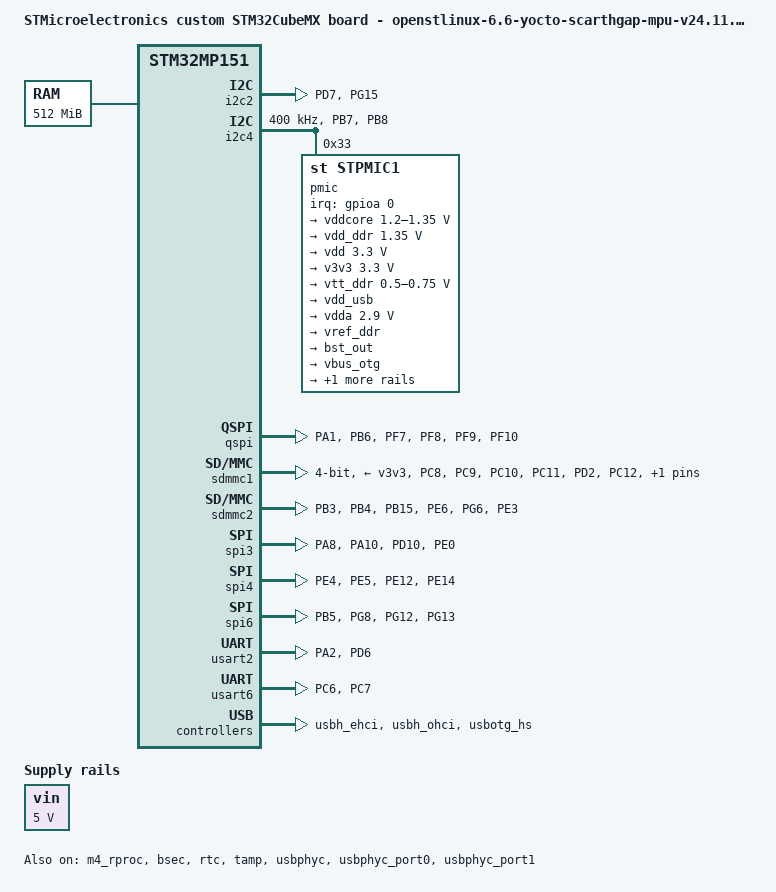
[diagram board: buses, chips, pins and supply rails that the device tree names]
// SPDX-License-Identifier: (GPL-2.0-or-later OR BSD-3-Clause)
/*
 * Copyright (C) 2025, STMicroelectronics - All Rights Reserved
 * Author: STM32CubeMX code generation for STMicroelectronics.
 */

/* For more information on Device Tree configuration, please refer to
 * https://wiki.st.com/stm32mpu/wiki/Category:Device_tree_configuration
 */

/dts-v1/;

#include <dt-bindings/pinctrl/stm32-pinfunc.h>
#include "stm32mp151.dtsi"
#include "stm32mp15xa.dtsi"
#include "stm32mp15xxab-pinctrl.dtsi"
#include "stm32mp15-m4-srm.dtsi"

/* USER CODE BEGIN includes */

#include "stm32mp15-scmi.dtsi"

#include <dt-bindings/gpio/gpio.h>
#include <dt-bindings/mfd/st,stpmic1.h>

/* USER CODE END includes */

/ {
	model = "STMicroelectronics custom STM32CubeMX board - openstlinux-6.6-yocto-scarthgap-mpu-v24.11.06";
	compatible = "st,stm32mp151a-kaonic-mx", "st,stm32mp151";

	memory@c0000000 {
		device_type = "memory";
		reg = <0xc0000000 0x20000000>;

		/* USER CODE BEGIN memory */
		/* USER CODE END memory */
	};

	reserved-memory {
		#address-cells = <1>;
		#size-cells = <1>;
		ranges;

		/* USER CODE BEGIN reserved-memory */
		/* USER CODE END reserved-memory */
	};

	/* USER CODE BEGIN root */

	aliases {
		serial0 = &usart6;
		serial1 = &usart2;
		spi0 = &spi4;
		spi1 = &spi6;
		spi2 = &spi3;
		spi3 = &qspi;
	};

	chosen {
		stdout-path = "serial0:115200n8";
		#address-cells = <1>;
		#size-cells = <1>;
		ranges;
	};

	vin: vin {
		compatible = "regulator-fixed";
		regulator-name = "vin";
		regulator-min-microvolt = <5000000>;
		regulator-max-microvolt = <5000000>;
		regulator-always-on;
	};
	
	/* USER CODE END root */

	clocks{

		/* USER CODE BEGIN clocks */
		/* USER CODE END clocks */
	};

}; /*root*/

&pinctrl {

	i2c2_pins_mx: i2c2_mx-0 {
		pins {
			pinmux = <STM32_PINMUX('D', 7, AF4)>, /* I2C2_SCL */
					 <STM32_PINMUX('G', 15, AF4)>; /* I2C2_SDA */
			bias-disable;
			drive-open-drain;
			slew-rate = <0>;
		};
	};

	i2c2_sleep_pins_mx: i2c2_sleep_mx-0 {
		pins {
			pinmux = <STM32_PINMUX('D', 7, ANALOG)>, /* I2C2_SCL */
					 <STM32_PINMUX('G', 15, ANALOG)>; /* I2C2_SDA */
		};
	};

	i2c4_pins_mx: i2c4_mx-0 {
		pins {
			pinmux = <STM32_PINMUX('B', 7, AF6)>, /* I2C4_SDA */
					 <STM32_PINMUX('B', 8, AF6)>; /* I2C4_SCL */
			bias-disable;
			drive-open-drain;
			slew-rate = <0>;
		};
	};

	i2c4_sleep_pins_mx: i2c4_sleep_mx-0 {
		pins {
			pinmux = <STM32_PINMUX('B', 7, ANALOG)>, /* I2C4_SDA */
					 <STM32_PINMUX('B', 8, ANALOG)>; /* I2C4_SCL */
		};
	};

	quadspi_pins_mx: quadspi_mx-0 {
		pins1 {
			pinmux = <STM32_PINMUX('A', 1, AF9)>, /* QUADSPI_BK1_IO3 */
					 <STM32_PINMUX('B', 6, AF10)>, /* QUADSPI_BK1_NCS */
					 <STM32_PINMUX('F', 7, AF9)>, /* QUADSPI_BK1_IO2 */
					 <STM32_PINMUX('F', 8, AF10)>, /* QUADSPI_BK1_IO0 */
					 <STM32_PINMUX('F', 9, AF10)>; /* QUADSPI_BK1_IO1 */
			bias-disable;
			drive-push-pull;
			slew-rate = <1>;
		};
		pins2 {
			pinmux = <STM32_PINMUX('F', 10, AF9)>; /* QUADSPI_CLK */
			bias-disable;
			drive-push-pull;
			slew-rate = <2>;
		};
	};

	quadspi_sleep_pins_mx: quadspi_sleep_mx-0 {
		pins {
			pinmux = <STM32_PINMUX('A', 1, ANALOG)>, /* QUADSPI_BK1_IO3 */
					 <STM32_PINMUX('B', 6, ANALOG)>, /* QUADSPI_BK1_NCS */
					 <STM32_PINMUX('F', 7, ANALOG)>, /* QUADSPI_BK1_IO2 */
					 <STM32_PINMUX('F', 8, ANALOG)>, /* QUADSPI_BK1_IO0 */
					 <STM32_PINMUX('F', 9, ANALOG)>, /* QUADSPI_BK1_IO1 */
					 <STM32_PINMUX('F', 10, ANALOG)>; /* QUADSPI_CLK */
		};
	};

	sdmmc1_pins_mx: sdmmc1_mx-0 {
		pins1 {
			pinmux = <STM32_PINMUX('C', 8, AF12)>, /* SDMMC1_D0 */
					 <STM32_PINMUX('C', 9, AF12)>, /* SDMMC1_D1 */
					 <STM32_PINMUX('C', 10, AF12)>, /* SDMMC1_D2 */
					 <STM32_PINMUX('C', 11, AF12)>, /* SDMMC1_D3 */
					 <STM32_PINMUX('D', 2, AF12)>; /* SDMMC1_CMD */
			bias-disable;
			drive-push-pull;
			slew-rate = <1>;
		};
		pins2 {
			pinmux = <STM32_PINMUX('C', 12, AF12)>; /* SDMMC1_CK */
			bias-disable;
			drive-push-pull;
			slew-rate = <3>;
		};
	};

	sdmmc1_opendrain_pins_mx: sdmmc1_opendrain_mx-0 {
		pins1 {
			pinmux = <STM32_PINMUX('C', 8, AF12)>, /* SDMMC1_D0 */
					 <STM32_PINMUX('C', 9, AF12)>, /* SDMMC1_D1 */
					 <STM32_PINMUX('C', 10, AF12)>, /* SDMMC1_D2 */
					 <STM32_PINMUX('C', 11, AF12)>; /* SDMMC1_D3 */
			bias-disable;
			drive-push-pull;
			slew-rate = <1>;
		};
		pins2 {
			pinmux = <STM32_PINMUX('C', 12, AF12)>; /* SDMMC1_CK */
			bias-disable;
			drive-push-pull;
			slew-rate = <3>;
		};
		pins3 {
			pinmux = <STM32_PINMUX('D', 2, AF12)>; /* SDMMC1_CMD */
			bias-disable;
			drive-open-drain;
			slew-rate = <1>;
		};
	};

	sdmmc1_sleep_pins_mx: sdmmc1_sleep_mx-0 {
		pins {
			pinmux = <STM32_PINMUX('C', 8, ANALOG)>, /* SDMMC1_D0 */
					 <STM32_PINMUX('C', 9, ANALOG)>, /* SDMMC1_D1 */
					 <STM32_PINMUX('C', 10, ANALOG)>, /* SDMMC1_D2 */
					 <STM32_PINMUX('C', 11, ANALOG)>, /* SDMMC1_D3 */
					 <STM32_PINMUX('C', 12, ANALOG)>, /* SDMMC1_CK */
					 <STM32_PINMUX('D', 2, ANALOG)>; /* SDMMC1_CMD */
		};
	};

	sdmmc2_pins_mx: sdmmc2_mx-0 {
		pins1 {
			pinmux = <STM32_PINMUX('B', 3, AF9)>, /* SDMMC2_D2 */
					 <STM32_PINMUX('B', 4, AF9)>, /* SDMMC2_D3 */
					 <STM32_PINMUX('B', 15, AF9)>, /* SDMMC2_D1 */
					 <STM32_PINMUX('E', 6, AF7)>, /* SDMMC2_D0 */
					 <STM32_PINMUX('G', 6, AF10)>; /* SDMMC2_CMD */
			bias-disable;
			drive-push-pull;
			slew-rate = <1>;
		};
		pins2 {
			pinmux = <STM32_PINMUX('E', 3, AF9)>; /* SDMMC2_CK */
			bias-disable;
			drive-push-pull;
			slew-rate = <3>;
		};
	};

	sdmmc2_opendrain_pins_mx: sdmmc2_opendrain_mx-0 {
		pins1 {
			pinmux = <STM32_PINMUX('B', 3, AF9)>, /* SDMMC2_D2 */
					 <STM32_PINMUX('B', 4, AF9)>, /* SDMMC2_D3 */
					 <STM32_PINMUX('B', 15, AF9)>, /* SDMMC2_D1 */
					 <STM32_PINMUX('E', 6, AF7)>; /* SDMMC2_D0 */
			bias-disable;
			drive-push-pull;
			slew-rate = <1>;
		};
		pins2 {
			pinmux = <STM32_PINMUX('E', 3, AF9)>; /* SDMMC2_CK */
			bias-disable;
			drive-push-pull;
			slew-rate = <3>;
		};
		pins3 {
			pinmux = <STM32_PINMUX('G', 6, AF10)>; /* SDMMC2_CMD */
			bias-disable;
			drive-open-drain;
			slew-rate = <1>;
		};
	};

	sdmmc2_sleep_pins_mx: sdmmc2_sleep_mx-0 {
		pins {
			pinmux = <STM32_PINMUX('B', 3, ANALOG)>, /* SDMMC2_D2 */
					 <STM32_PINMUX('B', 4, ANALOG)>, /* SDMMC2_D3 */
					 <STM32_PINMUX('B', 15, ANALOG)>, /* SDMMC2_D1 */
					 <STM32_PINMUX('E', 3, ANALOG)>, /* SDMMC2_CK */
					 <STM32_PINMUX('E', 6, ANALOG)>, /* SDMMC2_D0 */
					 <STM32_PINMUX('G', 6, ANALOG)>; /* SDMMC2_CMD */
		};
	};

	spi3_pins_mx: spi3_mx-0 {
		pins {
			pinmux = <STM32_PINMUX('A', 8, AF5)>, /* SPI3_MOSI */
					 <STM32_PINMUX('A', 10, AF5)>, /* SPI3_NSS */
					 <STM32_PINMUX('D', 10, AF5)>, /* SPI3_MISO */
					 <STM32_PINMUX('E', 0, AF5)>; /* SPI3_SCK */
			bias-disable;
			drive-push-pull;
			slew-rate = <1>;
		};
	};

	spi3_sleep_pins_mx: spi3_sleep_mx-0 {
		pins {
			pinmux = <STM32_PINMUX('A', 8, ANALOG)>, /* SPI3_MOSI */
					 <STM32_PINMUX('A', 10, ANALOG)>, /* SPI3_NSS */
					 <STM32_PINMUX('D', 10, ANALOG)>, /* SPI3_MISO */
					 <STM32_PINMUX('E', 0, ANALOG)>; /* SPI3_SCK */
		};
	};

	spi4_pins_mx: spi4_mx-0 {
		pins {
			pinmux = <STM32_PINMUX('E', 4, AF5)>, /* SPI4_NSS */
					 <STM32_PINMUX('E', 5, AF5)>, /* SPI4_MISO */
					 <STM32_PINMUX('E', 12, AF5)>, /* SPI4_SCK */
					 <STM32_PINMUX('E', 14, AF5)>; /* SPI4_MOSI */
			bias-disable;
			drive-push-pull;
			slew-rate = <1>;
		};
	};

	spi4_sleep_pins_mx: spi4_sleep_mx-0 {
		pins {
			pinmux = <STM32_PINMUX('E', 4, ANALOG)>, /* SPI4_NSS */
					 <STM32_PINMUX('E', 5, ANALOG)>, /* SPI4_MISO */
					 <STM32_PINMUX('E', 12, ANALOG)>, /* SPI4_SCK */
					 <STM32_PINMUX('E', 14, ANALOG)>; /* SPI4_MOSI */
		};
	};

	spi6_pins_mx: spi6_mx-0 {
		pins {
			pinmux = <STM32_PINMUX('B', 5, AF8)>, /* SPI6_MOSI */
					 <STM32_PINMUX('G', 8, AF5)>, /* SPI6_NSS */
					 <STM32_PINMUX('G', 12, AF5)>, /* SPI6_MISO */
					 <STM32_PINMUX('G', 13, AF5)>; /* SPI6_SCK */
			bias-disable;
			drive-push-pull;
			slew-rate = <1>;
		};
	};

	spi6_sleep_pins_mx: spi6_sleep_mx-0 {
		pins {
			pinmux = <STM32_PINMUX('B', 5, ANALOG)>, /* SPI6_MOSI */
					 <STM32_PINMUX('G', 8, ANALOG)>, /* SPI6_NSS */
					 <STM32_PINMUX('G', 12, ANALOG)>, /* SPI6_MISO */
					 <STM32_PINMUX('G', 13, ANALOG)>; /* SPI6_SCK */
		};
	};

	usart2_pins_mx: usart2_mx-0 {
		pins1 {
			pinmux = <STM32_PINMUX('A', 2, AF7)>; /* USART2_TX */
			bias-disable;
			drive-push-pull;
			slew-rate = <0>;
		};
		pins2 {
			pinmux = <STM32_PINMUX('D', 6, AF7)>; /* USART2_RX */
			bias-disable;
		};
	};

	usart2_idle_pins_mx: usart2_idle_mx-0 {
		pins1 {
			pinmux = <STM32_PINMUX('A', 2, ANALOG)>; /* USART2_TX */
		};
		pins2 {
			pinmux = <STM32_PINMUX('D', 6, AF7)>; /* USART2_RX */
			bias-disable;
		};
	};

	usart2_sleep_pins_mx: usart2_sleep_mx-0 {
		pins {
			pinmux = <STM32_PINMUX('A', 2, ANALOG)>, /* USART2_TX */
					 <STM32_PINMUX('D', 6, ANALOG)>; /* USART2_RX */
		};
	};

	usart6_pins_mx: usart6_mx-0 {
		pins1 {
			pinmux = <STM32_PINMUX('C', 6, AF7)>; /* USART6_TX */
			bias-disable;
			drive-push-pull;
			slew-rate = <0>;
		};
		pins2 {
			pinmux = <STM32_PINMUX('C', 7, AF7)>; /* USART6_RX */
			bias-disable;
		};
	};

	usart6_idle_pins_mx: usart6_idle_mx-0 {
		pins1 {
			pinmux = <STM32_PINMUX('C', 6, ANALOG)>; /* USART6_TX */
		};
		pins2 {
			pinmux = <STM32_PINMUX('C', 7, AF7)>; /* USART6_RX */
			bias-disable;
		};
	};

	usart6_sleep_pins_mx: usart6_sleep_mx-0 {
		pins {
			pinmux = <STM32_PINMUX('C', 6, ANALOG)>, /* USART6_TX */
					 <STM32_PINMUX('C', 7, ANALOG)>; /* USART6_RX */
		};
	};

	/* USER CODE BEGIN pinctrl */
	/* USER CODE END pinctrl */
};

&pinctrl_z {

	/* USER CODE BEGIN pinctrl_z */
	/* USER CODE END pinctrl_z */
};

&m4_rproc{
	status = "okay";

	/* USER CODE BEGIN m4_rproc */
	/* USER CODE END m4_rproc */

	m4_system_resources{
		status = "okay";

		/* USER CODE BEGIN m4_system_resources */
		/* USER CODE END m4_system_resources */
	};
};

&bsec {
	status = "okay";

	/* USER CODE BEGIN bsec */

	/* USER CODE END bsec */
};

&dma1 {
	status = "okay";

	/* USER CODE BEGIN dma1 */
	/* USER CODE END dma1 */
};

&dma2 {
	status = "disabled";

	/* USER CODE BEGIN dma2 */
	/* USER CODE END dma2 */
};

&dmamux1 {
	status = "okay";

	dma-masters = <&dma1>;
	dma-channels = <8>;

	/* USER CODE BEGIN dmamux1 */
	/* USER CODE END dmamux1 */
};

&i2c2 {
	pinctrl-names = "default", "sleep";
	pinctrl-0 = <&i2c2_pins_mx>;
	pinctrl-1 = <&i2c2_sleep_pins_mx>;
	status = "okay";

	/* USER CODE BEGIN i2c2 */
	/* USER CODE END i2c2 */
};

&i2c4 {
	pinctrl-names = "default", "sleep";
	pinctrl-0 = <&i2c4_pins_mx>;
	pinctrl-1 = <&i2c4_sleep_pins_mx>;
	status = "okay";

	/* USER CODE BEGIN i2c4 */
	i2c-scl-rising-time-ns = <185>;
	i2c-scl-falling-time-ns = <20>;
	clock-frequency = <400000>;
	/delete-property/ dmas;
	/delete-property/ dma-names;

	pmic: stpmic@33 {
		compatible = "st,stpmic1";
		reg = <0x33>;
		interrupts-extended = <&gpioa 0 IRQ_TYPE_EDGE_FALLING>;
		interrupt-controller;
		#interrupt-cells = <2>;
		status = "okay";

		regulators {
			compatible = "st,stpmic1-regulators";

			buck1-supply = <&vin>;
			buck2-supply = <&vin>;
			buck3-supply = <&vin>;
			buck4-supply = <&vin>;

			ldo1-supply = <&v3v3>;
			ldo2-supply = <&vin>;
			ldo3-supply = <&vdd_ddr>;
			ldo4-supply = <&vin>;
			ldo5-supply = <&vin>;
			ldo6-supply = <&v3v3>;

			vref_ddr-supply = <&vin>;
			boost-supply = <&vin>;

			pwr_sw1-supply = <&bst_out>;
			pwr_sw2-supply = <&bst_out>;

			vddcore: buck1 {
				regulator-name = "vddcore";
				regulator-min-microvolt = <1200000>;
				regulator-max-microvolt = <1350000>;
				regulator-always-on;
				regulator-initial-mode = <0>;
				regulator-over-current-protection;
			};

			vdd_ddr: buck2 {
				regulator-name = "vdd_ddr";
				regulator-min-microvolt = <1350000>;
				regulator-max-microvolt = <1350000>;
				regulator-always-on;
				regulator-initial-mode = <0>;
				regulator-over-current-protection;
			};

			vdd: buck3 {
				regulator-name = "vdd";
				regulator-min-microvolt = <3300000>;
				regulator-max-microvolt = <3300000>;
				regulator-always-on;
				st,mask-reset;
				regulator-initial-mode = <0>;
				regulator-over-current-protection;
			};

			v3v3: buck4 {
				regulator-name = "v3v3";
				regulator-min-microvolt = <3300000>;
				regulator-max-microvolt = <3300000>;
				regulator-always-on;
				regulator-over-current-protection;
				regulator-initial-mode = <0>;
			};

			vtt_ddr: ldo3 {
				regulator-name = "vtt_ddr";
				regulator-min-microvolt = <500000>;
				regulator-max-microvolt = <750000>;
				regulator-always-on;
				regulator-over-current-protection;
			};

			vdd_usb: ldo4 {
				regulator-name = "vdd_usb";
				interrupts = <IT_CURLIM_LDO4 0>;
			};

			vdda: ldo5 {
				regulator-name = "vdda";
				regulator-min-microvolt = <2900000>;
				regulator-max-microvolt = <2900000>;
				interrupts = <IT_CURLIM_LDO5 0>;
				regulator-boot-on;
			};

			vref_ddr: vref-ddr {
				regulator-name = "vref_ddr";
				regulator-always-on;
			};

			bst_out: boost {
				regulator-name = "bst_out";
				interrupts = <IT_OCP_BOOST 0>;
			};

			vbus_otg: pwr-sw1 {
				regulator-name = "vbus_otg";
				interrupts = <IT_OCP_OTG 0>;
			};

			vbus_sw: pwr-sw2 {
				regulator-name = "vbus_sw";
				interrupts = <IT_OCP_SWOUT 0>;
				regulator-active-discharge = <1>;
			};
		};

		onkey {
			compatible = "st,stpmic1-onkey";
			interrupts = <IT_PONKEY_F 0>, <IT_PONKEY_R 0>;
			interrupt-names = "onkey-falling", "onkey-rising";
			power-off-time-sec = <10>;
			status = "disabled";
		};

		watchdog {
			compatible = "st,stpmic1-wdt";
			status = "disabled";
		};
	};
	/* USER CODE END i2c4 */
};

&m4_dma2 {
	status = "okay";

	/* USER CODE BEGIN m4_dma2 */
	/* USER CODE END m4_dma2 */
};

&mdma1 {
	status = "okay";

	/* USER CODE BEGIN mdma1 */
	/* USER CODE END mdma1 */
};

&qspi {
	pinctrl-names = "default", "sleep";
	pinctrl-0 = <&quadspi_pins_mx>;
	pinctrl-1 = <&quadspi_sleep_pins_mx>;
	status = "okay";

	/* USER CODE BEGIN qspi */
	/* USER CODE END qspi */
};

&rcc {
	status = "okay";

	/* USER CODE BEGIN rcc */
	/* USER CODE END rcc */
};

&rtc {
	status = "okay";

	/* USER CODE BEGIN rtc */
	/* USER CODE END rtc */
};

&sdmmc1 {
	pinctrl-names = "default", "opendrain", "sleep";
	pinctrl-0 = <&sdmmc1_pins_mx>;
	pinctrl-1 = <&sdmmc1_opendrain_pins_mx>;
	pinctrl-2 = <&sdmmc1_sleep_pins_mx>;
	status = "okay";

	/* USER CODE BEGIN sdmmc1 */
	cd-gpios = <&gpioc 11 (GPIO_ACTIVE_LOW | GPIO_PULL_UP)>;
	disable-wp;
	st,neg-edge;
	bus-width = <4>;
	vmmc-supply = <&v3v3>;
	/* USER CODE END sdmmc1 */
};

&sdmmc2 {
	pinctrl-names = "default", "opendrain", "sleep";
	pinctrl-0 = <&sdmmc2_pins_mx>;
	pinctrl-1 = <&sdmmc2_opendrain_pins_mx>;
	pinctrl-2 = <&sdmmc2_sleep_pins_mx>;
	status = "okay";

	/* USER CODE BEGIN sdmmc2 */
	/* USER CODE END sdmmc2 */
};

&spi3 {
	pinctrl-names = "default", "sleep";
	pinctrl-0 = <&spi3_pins_mx>;
	pinctrl-1 = <&spi3_sleep_pins_mx>;
	status = "okay";

	/* USER CODE BEGIN spi3 */
	/* USER CODE END spi3 */
};

&spi4 {
	pinctrl-names = "default", "sleep";
	pinctrl-0 = <&spi4_pins_mx>;
	pinctrl-1 = <&spi4_sleep_pins_mx>;
	status = "okay";

	/* USER CODE BEGIN spi4 */
	/* USER CODE END spi4 */
};

&spi6 {
	pinctrl-names = "default", "sleep";
	pinctrl-0 = <&spi6_pins_mx>;
	pinctrl-1 = <&spi6_sleep_pins_mx>;
	status = "okay";

	/* USER CODE BEGIN spi6 */
	/* USER CODE END spi6 */
};

&tamp {
	status = "okay";

	/* USER CODE BEGIN tamp */
	/* USER CODE END tamp */
};

&usart2 {
	pinctrl-names = "default", "idle", "sleep";
	pinctrl-0 = <&usart2_pins_mx>;
	pinctrl-1 = <&usart2_idle_pins_mx>;
	pinctrl-2 = <&usart2_sleep_pins_mx>;
	status = "okay";

	/* USER CODE BEGIN usart2 */
	/* USER CODE END usart2 */
};

&usart6 {
	pinctrl-names = "default", "idle", "sleep";
	pinctrl-0 = <&usart6_pins_mx>;
	pinctrl-1 = <&usart6_idle_pins_mx>;
	pinctrl-2 = <&usart6_sleep_pins_mx>;
	status = "okay";

	/* USER CODE BEGIN usart6 */
	/* USER CODE END usart6 */
};

&usbh_ehci {
	status = "okay";

	/* USER CODE BEGIN usbh_ehci */
	/* USER CODE END usbh_ehci */
};

&usbh_ohci {
	status = "okay";

	/* USER CODE BEGIN usbh_ohci */
	/* USER CODE END usbh_ohci */
};

&usbotg_hs {
	status = "okay";

	/* USER CODE BEGIN usbotg_hs */
	/* USER CODE END usbotg_hs */
};

&usbphyc {
	status = "okay";

	/* USER CODE BEGIN usbphyc */
	/* USER CODE END usbphyc */
};

&usbphyc_port0 {
	status = "okay";

	/* USER CODE BEGIN usbphyc_port0 */
	/* USER CODE END usbphyc_port0 */
};

&usbphyc_port1 {
	status = "okay";

	/* USER CODE BEGIN usbphyc_port1 */
	/* USER CODE END usbphyc_port1 */
};

/* USER CODE BEGIN addons */

&cpu0 {
	clocks = <&scmi_clk CK_SCMI_MPU>;
	cpu-supply = <&vddcore>;
};

&gpioz {
	clocks = <&scmi_clk CK_SCMI_GPIOZ>;
};

&hash1 {
	clocks = <&scmi_clk CK_SCMI_HASH1>;
	resets = <&scmi_reset RST_SCMI_HASH1>;
};

&i2c4 {
	clocks = <&scmi_clk CK_SCMI_I2C4>;
	resets = <&scmi_reset RST_SCMI_I2C4>;
};

&i2c6 {
	clocks = <&scmi_clk CK_SCMI_I2C6>;
	resets = <&scmi_reset RST_SCMI_I2C6>;
};

&iwdg2 {
	clocks = <&rcc IWDG2>, <&scmi_clk CK_SCMI_LSI>;
};

&m4_rproc {
	resets = <&scmi_reset RST_SCMI_MCU>,
		 <&scmi_reset RST_SCMI_MCU_HOLD_BOOT>;
	reset-names = "mcu_rst", "hold_boot";
	/delete-property/ st,syscfg-holdboot;
};

&mdma1 {
	resets = <&scmi_reset RST_SCMI_MDMA>;
};

&mlahb {
	resets = <&scmi_reset RST_SCMI_MCU>;
};

&rcc {
	compatible = "st,stm32mp1-rcc-secure", "syscon";
	clock-names = "hse", "hsi", "csi", "lse", "lsi";
	clocks = <&scmi_clk CK_SCMI_HSE>,
		 <&scmi_clk CK_SCMI_HSI>,
		 <&scmi_clk CK_SCMI_CSI>,
		 <&scmi_clk CK_SCMI_LSE>,
		 <&scmi_clk CK_SCMI_LSI>;
};

&rng1 {
	clocks = <&scmi_clk CK_SCMI_RNG1>;
	resets = <&scmi_reset RST_SCMI_RNG1>;
};

&rtc {
	clocks = <&scmi_clk CK_SCMI_RTCAPB>, <&scmi_clk CK_SCMI_RTC>;
};

&spi6 {
	clocks = <&scmi_clk CK_SCMI_SPI6>;
	resets = <&scmi_reset RST_SCMI_SPI6>;
};

&usart1 {
	clocks = <&scmi_clk CK_SCMI_USART1>;
};

/* USER CODE END addons */

